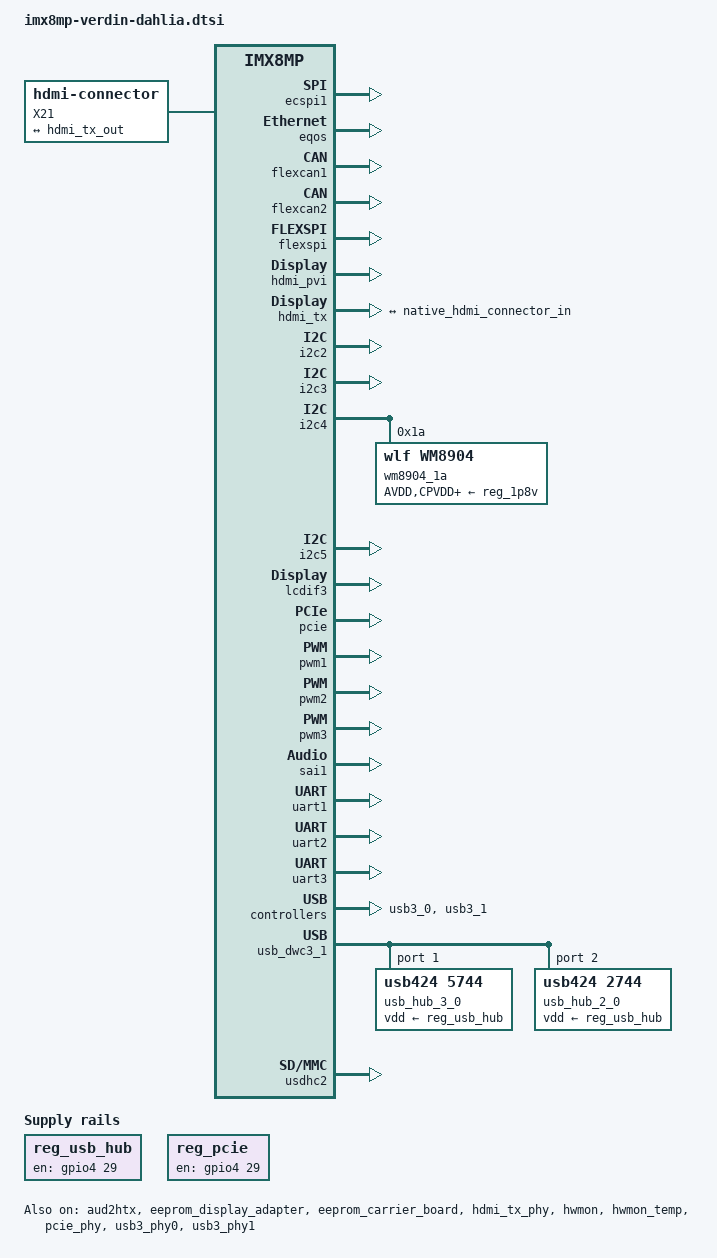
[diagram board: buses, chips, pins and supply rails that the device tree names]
// SPDX-License-Identifier: GPL-2.0-or-later OR MIT
/*
 * Copyright 2022 Toradex
 */

/ {
	native-hdmi-connector {
		compatible = "hdmi-connector";
		label = "X21";
		type = "a";

		port {
			native_hdmi_connector_in: endpoint {
				remote-endpoint = <&hdmi_tx_out>;
			};
		};
	};

	sound {
		compatible = "simple-audio-card";
		simple-audio-card,bitclock-master = <&codec_dai>;
		simple-audio-card,format = "i2s";
		simple-audio-card,frame-master = <&codec_dai>;
		simple-audio-card,mclk-fs = <256>;
		simple-audio-card,name = "verdin-wm8904";
		simple-audio-card,routing =
			"Headphone Jack", "HPOUTL",
			"Headphone Jack", "HPOUTR",
			"IN2L", "Line In Jack",
			"IN2R", "Line In Jack",
			"Microphone Jack", "MICBIAS",
			"IN1L", "Microphone Jack";
		simple-audio-card,widgets =
			"Microphone", "Microphone Jack",
			"Headphone", "Headphone Jack",
			"Line", "Line In Jack";

		codec_dai: simple-audio-card,codec {
			clocks = <&audio_blk_ctrl IMX8MP_CLK_AUDIOMIX_SAI1_MCLK1>;
			sound-dai = <&wm8904_1a>;
		};

		simple-audio-card,cpu {
			sound-dai = <&sai1>;
		};
	};

	reg_usb_hub: regulator-usb-hub {
		compatible = "regulator-fixed";
		enable-active-high;
		/* Verdin CTRL_SLEEP_MOCI# (SODIMM 256) */
		gpio = <&gpio4 29 GPIO_ACTIVE_HIGH>;
		regulator-boot-on;
		regulator-name = "HUB_PWR_EN";
	};

	reg_pcie: regulator-pcie {
		compatible = "regulator-fixed";
		enable-active-high;
		/* Verdin CTRL_SLEEP_MOCI# (SODIMM 256) */
		gpio = <&gpio4 29 GPIO_ACTIVE_HIGH>;
		regulator-boot-on;
		regulator-name = "PCIE_1_PWR_EN";
		startup-delay-us = <100000>;
	};
};

/* Verdin HDMI_1 Audio */
&aud2htx {
	status = "okay";
};

&backlight {
	power-supply = <&reg_3p3v>;
};

/* Verdin SPI_1 */
&ecspi1 {
	status = "okay";
};

/* EEPROM on display adapter boards */
&eeprom_display_adapter {
	status = "okay";
};

/* EEPROM on Verdin Development board */
&eeprom_carrier_board {
	status = "okay";
};

&eqos {
	status = "okay";
};

&flexcan1 {
	status = "okay";
};

&flexcan2 {
	status = "okay";
};

/* Verdin QSPI_1 */
&flexspi {
	status = "okay";
};

&gpio4 {
	pinctrl-names = "default";
	pinctrl-0 = <&pinctrl_ctrl_sleep_moci>;
};

/* Verdin HDMI_1 */
&hdmi_pvi {
	status = "okay";
};

&hdmi_tx {
	status = "okay";

	ports {
		port@1 {
			hdmi_tx_out: endpoint {
				remote-endpoint = <&native_hdmi_connector_in>;
			};
		};
	};
};

&hdmi_tx_phy {
	status = "okay";
};

/* Current measurement into module VCC */
&hwmon {
	status = "okay";
};

&hwmon_temp {
	vs-supply = <&reg_1p8v>;
	status = "okay";
};

/* Verdin I2C_2_DSI */
&i2c2 {
	status = "okay";
};

&i2c3 {
	status = "okay";
};

/* Verdin I2C_1 */
&i2c4 {
	status = "okay";

	/* Audio Codec */
	wm8904_1a: audio-codec@1a {
		compatible = "wlf,wm8904";
		reg = <0x1a>;
		pinctrl-names = "default";
		pinctrl-0 = <&pinctrl_sai1>;
		#sound-dai-cells = <0>;
		clocks = <&audio_blk_ctrl IMX8MP_CLK_AUDIOMIX_SAI1_MCLK1>;
		clock-names = "mclk";
		AVDD-supply = <&reg_1p8v>;
		CPVDD-supply = <&reg_1p8v>;
		DBVDD-supply = <&reg_1p8v>;
		DCVDD-supply = <&reg_1p8v>;
		MICVDD-supply = <&reg_1p8v>;
	};
};

/* Verdin I2C_3_HDMI */
&i2c5 {
	status = "okay";
};

&lcdif3 {
	status = "okay";
};

/* Verdin PCIE_1 */
&pcie {
	vpcie-supply = <&reg_pcie>;
	status = "okay";
};

&pcie_phy {
	status = "okay";
};

/* Verdin PWM_1 */
&pwm1 {
	status = "okay";
};

/* Verdin PWM_2 */
&pwm2 {
	status = "okay";
};

/* Verdin PWM_3_DSI */
&pwm3 {
	status = "okay";
};

&reg_usdhc2_vmmc {
	vin-supply = <&reg_3p3v>;
};

/* We support turning off sleep moci on Dahlia */
&reg_force_sleep_moci {
	status = "disabled";
};

/* Verdin I2S_1 */
&sai1 {
	assigned-clocks = <&clk IMX8MP_CLK_SAI1>;
	assigned-clock-parents = <&clk IMX8MP_AUDIO_PLL1_OUT>;
	assigned-clock-rates = <24576000>;
	fsl,sai-mclk-direction-output;
	status = "okay";
};

/* Verdin HDMI_1 Audio */
&sound_hdmi {
	status = "okay";
};

/* Verdin UART_1 */
&uart1 {
	status = "okay";
};

/* Verdin UART_2 */
&uart2 {
	status = "okay";
};

/* Verdin UART_3, used as the Linux Console */
&uart3 {
	status = "okay";
};

/* Verdin USB_1 */
&usb3_0 {
	status = "okay";
};

&usb3_phy0 {
	status = "okay";
};

/* Verdin USB_2 */
&usb3_1 {
	fsl,permanently-attached;
	status = "okay";
};

&usb3_phy1 {
	status = "okay";
};

&usb_dwc3_1 {
	#address-cells = <1>;
	#size-cells = <0>;

	usb_hub_3_0: usb-hub@1 {
		compatible = "usb424,5744";
		reg = <1>;
		peer-hub = <&usb_hub_2_0>;
		vdd-supply = <&reg_usb_hub>;
	};

	usb_hub_2_0: usb-hub@2 {
		compatible = "usb424,2744";
		reg = <2>;
		peer-hub = <&usb_hub_3_0>;
		vdd-supply = <&reg_usb_hub>;
	};
};

/* Verdin SD_1 */
&usdhc2 {
	status = "okay";
};
